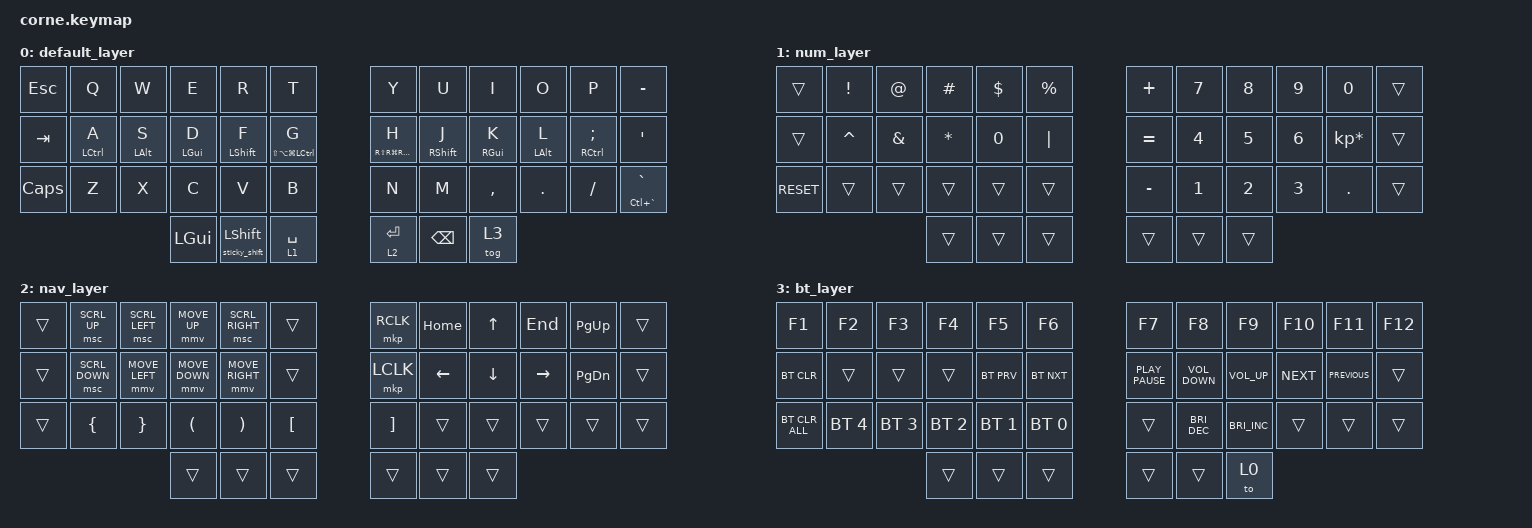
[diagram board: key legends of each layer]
/*
 * Copyright (c) 2020 The ZMK Contributors
 *
 * SPDX-License-Identifier: MIT
 */

#define ZMK_POINTING_DEFAULT_MOVE_VAL 1500  // default: 600
#define ZMK_POINTING_DEFAULT_SCRL_VAL 20    // default: 10

#include <behaviors.dtsi>
#include <dt-bindings/zmk/bt.h>
#include <dt-bindings/zmk/keys.h>
#include <dt-bindings/zmk/pointing.h>
#include <dt-bindings/zmk/pointing.h>
#include <dt-bindings/zmk/pointing.h>

/ {
    behaviors {
        hmr: homerow_mods_right {
            compatible = "zmk,behavior-hold-tap";
            label = "HOMEROW_MODS_RIGHT";
            bindings = <&kp>, <&kp>;

            #binding-cells = <2>;
            flavor = "balanced";
            tapping-term-ms = <280>;
            quick-tap-ms = <175>;
            require-prior-idle-ms = <100>;
            hold-trigger-key-positions = <14 0 1 2 3 4 5 12 13 14 15 16 17 24 25 26 27 28 29 36 37 38 39 40 41>;
            hold-trigger-on-release;
        };

        hml: homerow_mods_left {
            compatible = "zmk,behavior-hold-tap";
            label = "HOMEROW_MODS_LEFT";
            bindings = <&kp>, <&kp>;

            #binding-cells = <2>;
            tapping-term-ms = <280>;
            quick-tap-ms = <175>;
            require-prior-idle-ms = <100>;
            flavor = "balanced";
            hold-trigger-key-positions = <6 7 8 9 10 11 18 19 20 21 22 23 30 31 32 33 34 35 39 40 41 36 37 38>;
            hold-trigger-on-release;
        };

        td: tap_dance {
            compatible = "zmk,behavior-hold-tap";
            label = "TAP_DANCE";
            bindings = <&kp>, <&kp>;

            #binding-cells = <2>;
            tapping-term-ms = <150>;
            flavor = "tap-preferred";
        };

        slt: space_layer_tap {
            compatible = "zmk,behavior-hold-tap";
            label = "SPACE_LAYER_TAP";
            bindings = <&mo>, <&kp>;

            #binding-cells = <2>;
            tapping-term-ms = <140>;
            quick-tap-ms = <100>;
            flavor = "balanced";
            hold-trigger-key-positions = <38 39>;
            hold-while-undecided;
            hold-trigger-on-release;
        };

        sticky_shift: sticky_shift {
            compatible = "zmk,behavior-sticky-key";
            label = "STICKY_SHIFT";
            bindings = <&kp>;
            #binding-cells = <1>;
            quick-release;
            release-after-ms = <1000>;
        };
    };

    combos {
        compatible = "zmk,combos";

        LBrace {
            bindings = <&kp LEFT_BRACE>;
            key-positions = <31 32>;
            require-prior-idle-ms = <130>;
        };

        RBrace {
            bindings = <&kp RIGHT_BRACE>;
            key-positions = <32 33>;
            require-prior-idle-ms = <130>;
        };

        LParen {
            bindings = <&kp LEFT_PARENTHESIS>;
            key-positions = <19 20>;
            require-prior-idle-ms = <130>;
        };

        RParen {
            bindings = <&kp RIGHT_PARENTHESIS>;
            key-positions = <20 21>;
            require-prior-idle-ms = <130>;
        };

        Mac_Copy {
            bindings = <&kp RG(C)>;
            key-positions = <26 27>;
            require-prior-idle-ms = <130>;
        };

        Mac_Paste {
            bindings = <&kp LG(V)>;
            key-positions = <27 28>;
            require-prior-idle-ms = <130>;
        };

        Mac_cut {
            bindings = <&kp LG(X)>;
            key-positions = <25 26>;
            require-prior-idle-ms = <130>;
        };

        LBrac {
            bindings = <&kp LEFT_BRACKET>;
            key-positions = <7 8>;
            require-prior-idle-ms = <130>;
        };

        RBrac {
            bindings = <&kp RIGHT_BRACKET>;
            key-positions = <8 9>;
        };
    };

    keymap {
        compatible = "zmk,keymap";

        default_layer {
            // -----------------------------------------------------------------------------------------
            // |  TAB |  Q  |  W  |  E  |  R  |  T  |   |  Y  |  U   |  I  |  O  |  P  | BSPC |
            // | CTRL |  A  |  S  |  D  |  F  |  G  |   |  H  |  J   |  K  |  L  |  ;  |  '   |
            // | SHFT |  Z  |  X  |  C  |  V  |  B  |   |  N  |  M   |  ,  |  .  |  /  | ESC  |
            //                    | GUI | LWR | SPC |   | ENT | RSE  | ALT |

            bindings = <
&kp ESC   &kp Q         &kp W            &kp E            &kp R                     &kp T                       &kp Y                     &kp U               &kp I             &kp O            &kp P                    &kp MINUS
&kp TAB   &hml LCTRL A  &hml LEFT_ALT S  &hml LEFT_GUI D  &hml LEFT_SHIFT F         &hml LS(LA(LG(LCTRL))) G    &hmr RS(RG(RA(RCTRL))) H  &hmr RIGHT_SHIFT J  &hmr RIGHT_GUI K  &hmr LEFT_ALT L  &hmr RIGHT_CONTROL SEMI  &kp SQT
&kp CAPS  &kp Z         &kp X            &kp C            &kp V                     &kp B                       &kp N                     &kp M               &kp COMMA         &kp DOT          &kp FSLH                 &td LC(GRAVE) GRAVE
                                         &kp LEFT_GUI     &sticky_shift LEFT_SHIFT  &slt 1 SPACE                &slt 2 RET                &kp BACKSPACE       &tog 3
            >;
        };

        num_layer {
            bindings = <
&trans       &kp EXCLAMATION  &kp AT_SIGN    &kp HASH      &kp DOLLAR    &kp PERCENT    &kp PLUS   &kp N7  &kp N8  &kp N9  &kp N0           &trans
&trans       &kp CARET        &kp AMPERSAND  &kp ASTERISK  &kp NUMBER_0  &kp PIPE       &kp EQUAL  &kp N4  &kp N5  &kp N6  &kp KP_MULTIPLY  &trans
&kp C_RESET  &trans           &trans         &trans        &trans        &trans         &kp MINUS  &kp N1  &kp N2  &kp N3  &kp PERIOD       &trans
                                             &trans        &trans        &trans         &trans     &trans  &trans
            >;
        };

        nav_layer {
            // -----------------------------------------------------------------------------------------
            // |  TAB |  !  |  @  |  #  |  $  |  %  |   |  ^  |  &  |  *  |  (  |  )  | BSPC |
            // | CTRL |     |     |     |     |     |   |  -  |  =  |  [  |  ]  |  \  |  `   |
            // | SHFT |     |     |     |     |     |   |  _  |  +  |  {  |  }  | "|" |  ~   |
            //                    | GUI |     | SPC |   | ENT |     | ALT |

            bindings = <
&trans  &msc SCRL_UP    &msc SCRL_LEFT   &mmv MOVE_UP          &msc SCRL_RIGHT        &trans              &mkp RCLK          &kp HOME  &kp UP    &kp END    &kp PAGE_UP    &trans
&trans  &msc SCRL_DOWN  &mmv MOVE_LEFT   &mmv MOVE_DOWN        &mmv MOVE_RIGHT        &trans              &mkp LCLK          &kp LEFT  &kp DOWN  &kp RIGHT  &kp PAGE_DOWN  &trans
&trans  &kp LEFT_BRACE  &kp RIGHT_BRACE  &kp LEFT_PARENTHESIS  &kp RIGHT_PARENTHESIS  &kp LEFT_BRACKET    &kp RIGHT_BRACKET  &trans    &trans    &trans     &trans         &trans
                                         &trans                &trans                 &trans              &trans             &trans    &trans
            >;
        };

        bt_layer {
            bindings = <
&kp F1          &kp F2        &kp F3        &kp F4        &kp F5        &kp F6          &kp F7            &kp F8                &kp F9                &kp F10     &kp F11         &kp F12
&bt BT_CLR      &trans        &trans        &trans        &bt BT_PRV    &bt BT_NXT      &kp K_PLAY_PAUSE  &kp K_VOLUME_DOWN     &kp K_VOLUME_UP       &kp K_NEXT  &kp K_PREVIOUS  &trans
&bt BT_CLR_ALL  &bt BT_SEL 4  &bt BT_SEL 3  &bt BT_SEL 2  &bt BT_SEL 1  &bt BT_SEL 0    &trans            &kp C_BRIGHTNESS_DEC  &kp C_BRIGHTNESS_INC  &trans      &trans          &trans
                                            &trans        &trans        &trans          &trans            &trans                &to 0
            >;
        };
    };

    conditional_layers {
        compatible = "zmk,conditional-layers";

        bt-layer {
            if-layers = <1 2>;
            then-layer = <3>;
        };
    };
};
